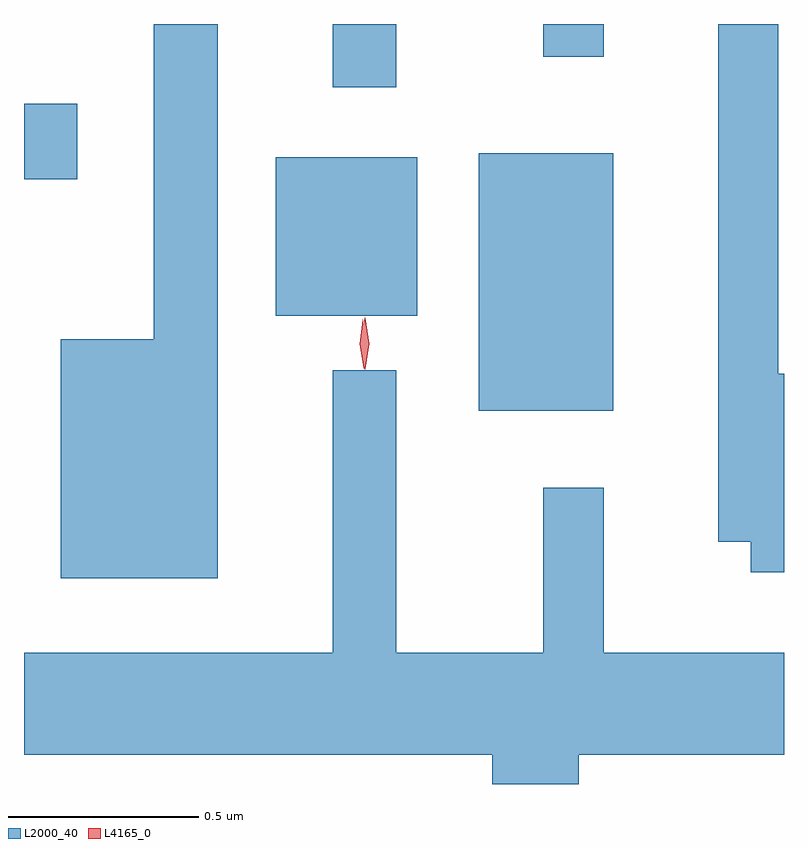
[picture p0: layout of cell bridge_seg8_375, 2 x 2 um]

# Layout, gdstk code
import gdstk
lib = gdstk.Library(unit=1e-6, precision=1e-09)
def R(c, l, rs):  # rectangles x0, y0, x1, y1
    for r in rs: c.add(gdstk.rectangle(r[:2], r[2:], *l))
def P(c, l, *ps):  # polygons
    for p in ps: c.add(gdstk.Polygon(p, *l))
L2000_40 = (2000, 40)
L4165_0 = (4165, 0)

bridge_seg8_375 = lib.new_cell('bridge_seg8_375')
R(bridge_seg8_375, L2000_40, [(771.766,1923.901,772.119,1924.579), (771.231,1924.151,771.604,1924.569), (770.569,1924.511,770.709,1924.709), (771.381,1924.753,771.549,1924.919), (771.936,1924.833,772.094,1924.919)])
P(bridge_seg8_375, L2000_40, [(772.569,1923.999),(772.554,1923.999),(772.554,1924.919),(772.396,1924.919),(772.396,1923.556),(772.481,1923.556),(772.481,1923.476),(772.569,1923.476)],
  [(771.079,1924.919),(770.911,1924.919),(770.911,1924.089),(770.666,1924.089),(770.666,1923.461),(771.079,1923.461)],
  [(772.029,1922.996),(772.569,1922.996),(772.569,1923.264),(772.094,1923.264),(772.094,1923.698),(771.936,1923.698),(771.936,1923.264),(771.549,1923.264),(771.549,1924.008),(771.381,1924.008),(771.381,1923.264),(770.569,1923.264),(770.569,1922.996),(771.801,1922.996),(771.801,1922.919),(772.029,1922.919)])
P(bridge_seg8_375, L4165_0, [(771.466,1924.01),(771.457,1924.078),(771.466,1924.146),(771.467,1924.146),(771.467,1924.146),(771.477,1924.078),(771.467,1924.01),(771.467,1924.01)],
  [(771.463,1924.013),(771.452,1924.077),(771.46,1924.141),(771.46,1924.142),(771.461,1924.141),(771.472,1924.077),(771.464,1924.013),(771.464,1924.013)])

lib.write_gds('bridge_seg8_375.gds')
